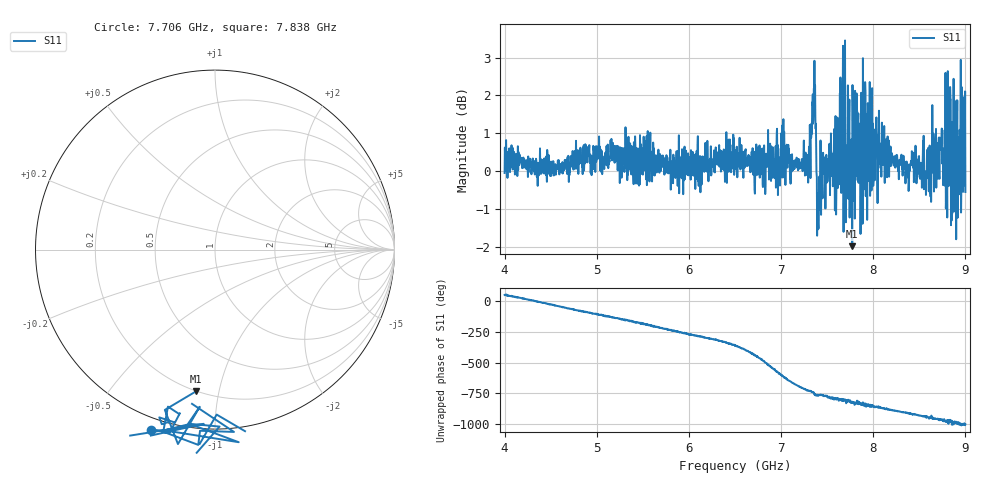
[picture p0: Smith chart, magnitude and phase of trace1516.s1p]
! Created with skrf 1.8.0 (http://scikit-rf.org).
# Hz S RI R 50.0
!freq ReS11 ImS11
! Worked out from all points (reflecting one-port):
!   1601 points, 4 GHz to 9 GHz, reference 50 ohm
!   lowest |S11| = -2.0 dB at 7.772 GHz (marker M1), VSWR 8.83, Z = 9.91 - j42.8 ohm
!   phase of S11 starts at 48 deg and turns -1048 deg over the sweep
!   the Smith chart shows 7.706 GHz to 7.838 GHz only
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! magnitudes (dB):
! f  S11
! 4 GHz  0.0
! 4.625 GHz  0.0
! 4.897 GHz  0.2
! 5.25 GHz  -0.3
! 5.875 GHz  0.3
! 6.5 GHz  0.4
! 6.922 GHz  -0.1
! 7.019 GHz  -0.2
! 7.125 GHz  0.3
! 7.294 GHz  -0.3
! 7.353 GHz  1.9
! 7.409 GHz  -1.1
! 7.453 GHz  0.1
! 7.609 GHz  0.8
! 7.669 GHz  1.9
! 7.716 GHz  -0.2
! 7.722 GHz  1.1
! 7.75 GHz  0.1
! 7.772 GHz  -2.0
! 7.928 GHz  1.3
! 8.375 GHz  0.1
! 8.612 GHz  0.7
! 8.731 GHz  0.6
! 8.778 GHz  0.6
! 8.816 GHz  -0.4
! 8.869 GHz  -0.1
! 8.972 GHz  1.0
! 9 GHz  -0.5
